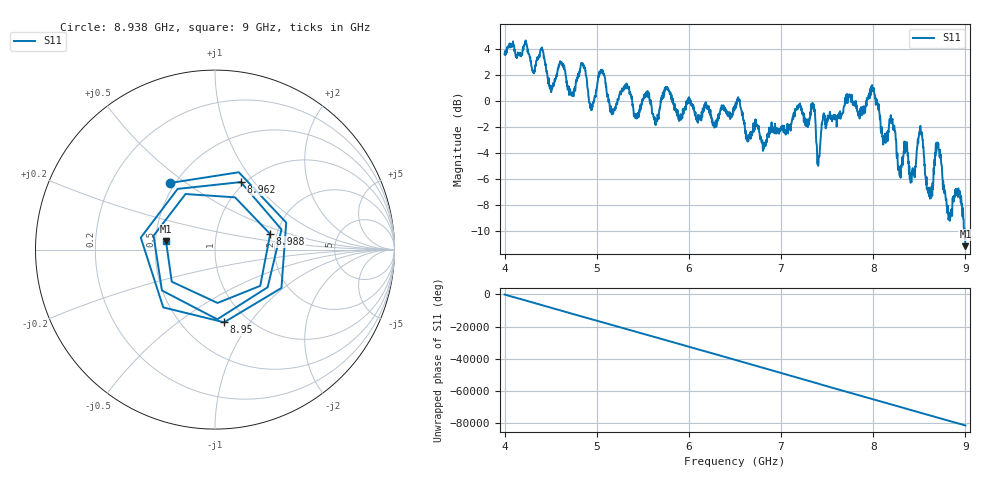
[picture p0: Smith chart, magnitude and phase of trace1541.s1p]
! Created with skrf 1.8.0 (http://scikit-rf.org).
# Hz S RI R 50.0
!freq ReS11 ImS11
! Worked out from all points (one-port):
!   1601 points, 4 GHz to 9 GHz, reference 50 ohm
!   lowest |S11| = -11.1 dB at 9 GHz (marker M1), VSWR 1.77, Z = 28.4 + j2.96 ohm
!   |S11| at or under -10 dB: 8.983642 GHz to 8.986332 GHz (2.69 MHz wide, 0.0299 % of centre); 8.991774 GHz to end of sweep
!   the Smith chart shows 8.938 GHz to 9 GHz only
!   S11 on the Smith chart (normalised r, x): 8.938 GHz: 0.47, +0.44; 8.95 GHz: 0.78, -0.76; 8.962 GHz: 0.96, +0.86; 8.988 GHz: 1.84, +0.36; 9 GHz: 0.57, +0.06
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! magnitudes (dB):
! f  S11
! 4 GHz  3.6
! 4.625 GHz  2.7
! 4.725 GHz  0.5
! 4.853 GHz  2.7
! 4.941 GHz  -0.6
! 5.047 GHz  2.3
! 5.162 GHz  -0.6
! 5.25 GHz  0.5
! 5.875 GHz  -0.7
! 6.5 GHz  -0.4
! 6.812 GHz  -3.7
! 7.125 GHz  -1.3
! 7.344 GHz  -0.5
! 7.406 GHz  -4.7
! 7.75 GHz  0.5
! 7.994 GHz  1.0
! 8.109 GHz  -3.3
! 8.375 GHz  -4.2
! 8.428 GHz  -5.2
! 8.516 GHz  -2.3
! 8.606 GHz  -6.6
! 8.7 GHz  -3.2
! 8.822 GHz  -9.0
! 8.938 GHz  -7.0
! 8.95 GHz  -7.8
! 8.962 GHz  -7.9
! 8.988 GHz  -9.9
! 9 GHz  -11.1
